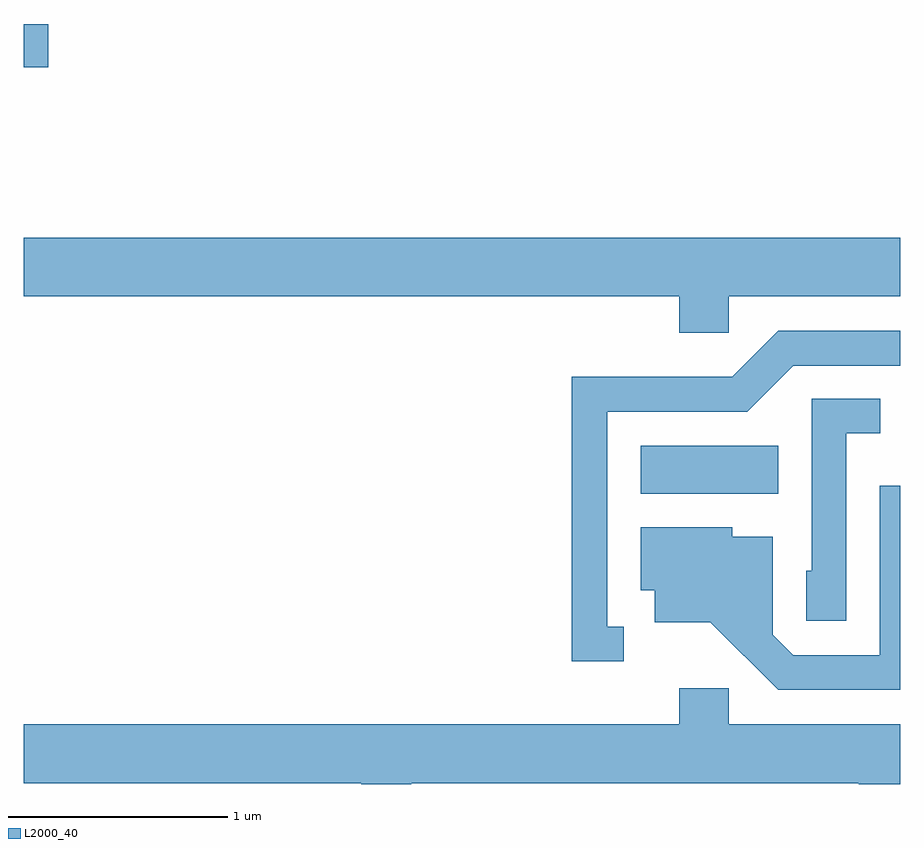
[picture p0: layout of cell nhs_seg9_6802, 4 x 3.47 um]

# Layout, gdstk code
import gdstk
lib = gdstk.Library(unit=1e-6, precision=1e-09)
def R(c, l, rs):  # rectangles x0, y0, x1, y1
    for r in rs: c.add(gdstk.rectangle(r[:2], r[2:], *l))
def P(c, l, *ps):  # polygons
    for p in ps: c.add(gdstk.Polygon(p, *l))
L2000_40 = (2000, 40)

nhs_seg9_6802 = lib.new_cell('nhs_seg9_6802')
R(nhs_seg9_6802, L2000_40, [(388.426,2039.756,389.054,2039.974), (385.611,2041.701,385.724,2041.899)])
P(nhs_seg9_6802, L2000_40, [(388.829,2040.656),(389.611,2040.656),(389.611,2040.924),(385.611,2040.924),(385.611,2040.656),(388.601,2040.656),(388.601,2040.491),(388.829,2040.491)],
  [(388.348,2039.149),(388.274,2039.149),(388.274,2040.131),(388.912,2040.131),(389.122,2040.341),(389.611,2040.341),(389.611,2040.499),(389.054,2040.499),(388.844,2040.289),(388.111,2040.289),(388.111,2038.991),(388.348,2038.991)],
  [(389.364,2040.031),(389.518,2040.031),(389.518,2040.189),(389.206,2040.189),(389.206,2039.404),(389.181,2039.404),(389.181,2039.176),(389.364,2039.176)],
  [(389.611,2039.793),(389.516,2039.793),(389.516,2039.019),(389.122,2039.019),(389.029,2039.112),(389.029,2039.559),(388.844,2039.559),(388.844,2039.604),(388.426,2039.604),(388.426,2039.316),(388.491,2039.316),(388.491,2039.171),(388.744,2039.171),(389.054,2038.861),(389.611,2038.861)],
  [(387.379,2038.436),(389.421,2038.436),(389.421,2038.432),(389.611,2038.432),(389.611,2038.704),(388.829,2038.704),(388.829,2038.869),(388.601,2038.869),(388.601,2038.704),(385.611,2038.704),(385.611,2038.436),(387.151,2038.436),(387.151,2038.432),(387.379,2038.432)])

lib.write_gds('nhs_seg9_6802.gds')
